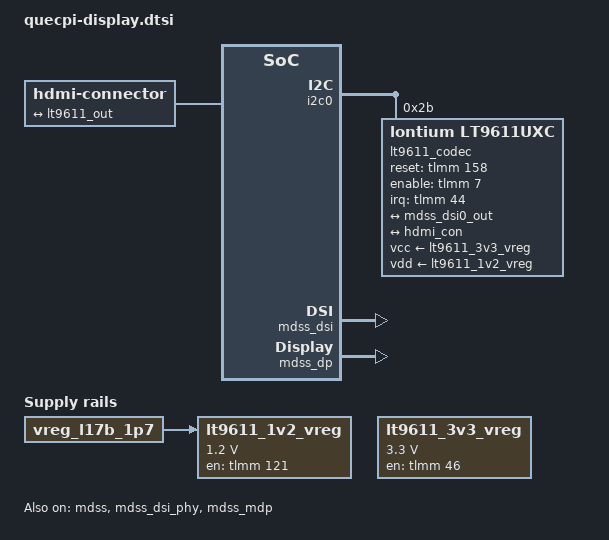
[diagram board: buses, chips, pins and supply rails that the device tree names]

/ {
	/delete-node/ regulator-lcd-disp-bias;

	hdmi-connector {
		compatible = "hdmi-connector";
		type = "a";

		port {
			hdmi_con: endpoint {
				remote-endpoint = <&lt9611_out>;
			};
		};
	};
};

&soc {
        lt9611_1v2_vreg: lt9611-1v2-vreg {
                compatible = "regulator-fixed";
		regulator-name = "lt9611_1v2_vreg";
                gpio = <&tlmm 121 0>;
                regulator-min-microvolt = <1200000>;
                regulator-max-microvolt = <1200000>;
                enable-active-high;
		vin-supply = <&vreg_l17b_1p7>; //need by U1902 SGM4568YTQG20G
        };

        lt9611_3v3_vreg: lt9611-3v3-vreg {
                compatible = "regulator-fixed";
		regulator-name = "lt9611_3v3_vreg";
                gpio = <&tlmm 46 0>;
                regulator-min-microvolt = <3300000>;
                regulator-max-microvolt = <3300000>;
                enable-active-high;
        };
};


&apps_rsc {
	regulators-0 {
		vreg_l6b_1p2: ldo6 {
			regulator-min-microvolt = <1140000>;
			regulator-max-microvolt = <1260000>;
			regulator-initial-mode = <RPMH_REGULATOR_MODE_HPM>;
		};
	};

	regulators-1 {
		vreg_l10c_0p88: ldo10 {
			regulator-min-microvolt = <880000>;
			regulator-max-microvolt = <1050000>;
			regulator-initial-mode = <RPMH_REGULATOR_MODE_HPM>;
		};
	};
};

&pm7250b_gpios {
	///delete-node/ lcd-disp-bias-en-state;
};

&tlmm {
	lt9611_rst_pin: lt9611-rst-state {
		pins = "gpio158";
		function = "gpio";

		output-high;
	};

	lt9611_irq_pin: lt9611-irq {
		pins = "gpio44";
		function = "gpio";
		drive-strength = <8>;
		bias-disable;
	};

	lt9611_en_pin: lt9611-en-state {
		pins = "gpio7";
		function = "gpio";
		output-high;
	};
};


&i2c0 {
	status = "okay";

	lt9611_codec: hdmi-bridge@2b {
		compatible = "lontium,lt9611uxc";
		reg = <0x2b>;

		interrupts-extended = <&tlmm 44 IRQ_TYPE_EDGE_FALLING>;
		reset-gpios = <&tlmm 158 0>;
		enable-gpios = <&tlmm 7 0>; //LT9611_5V_EN GPIO_ACTIVE_HIGH

		vcc-supply = <&lt9611_3v3_vreg>;
		vdd-supply = <&lt9611_1v2_vreg>;

		pinctrl-names = "default";
		pinctrl-0 = <&lt9611_irq_pin &lt9611_rst_pin &lt9611_en_pin>;

		ports {
			#address-cells = <1>;
			#size-cells = <0>;

			port@0 {
				reg = <0>;

				lt9611_a: endpoint {
					remote-endpoint = <&mdss_dsi0_out>;
				};
			};

			port@2 {
				reg = <2>;

				lt9611_out: endpoint {
					remote-endpoint = <&hdmi_con>;
				};
			};
		};
	};
};

&mdss {
	status = "okay";
};

&mdss_dsi {
	vdda-supply = <&vreg_l6b_1p2>;
	status = "okay";
};

&mdss_dsi0_out {
	remote-endpoint = <&lt9611_a>;
	data-lanes = <0 1 2 3>;
};

&mdss_dsi_phy {
	vdds-supply = <&vreg_l10c_0p88>;
	status = "okay";
};

&mdss_dp {
	status = "okay";
};

&mdss_mdp {
	status = "okay";
	/delete-node/ port@1;
};
